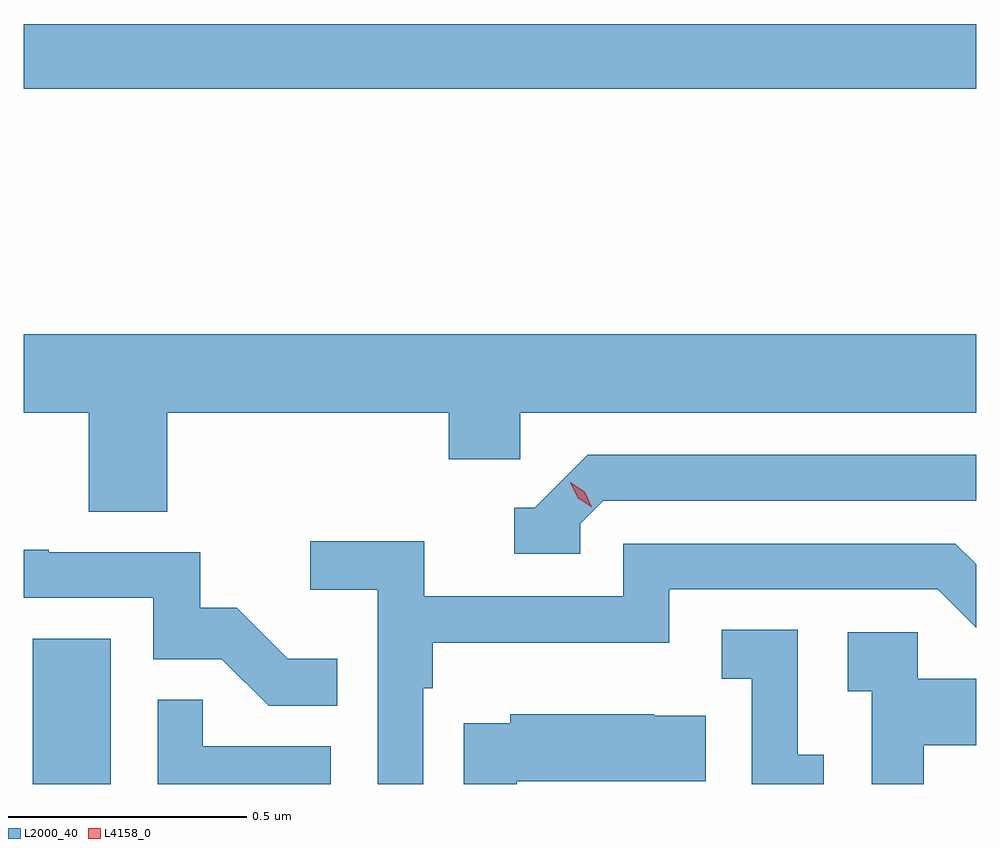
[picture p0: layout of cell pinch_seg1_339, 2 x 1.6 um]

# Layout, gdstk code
import gdstk
lib = gdstk.Library(unit=1e-6, precision=1e-09)
def R(c, l, rs):  # rectangles x0, y0, x1, y1
    for r in rs: c.add(gdstk.rectangle(r[:2], r[2:], *l))
def P(c, l, *ps):  # polygons
    for p in ps: c.add(gdstk.Polygon(p, *l))
L2000_40 = (2000, 40)
L4158_0 = (4158, 0)

pinch_seg1_339 = lib.new_cell('pinch_seg1_339')
R(pinch_seg1_339, L2000_40, [(950.978,545.624,951.142,545.929), (950.959,547.084,952.959,547.22)])
P(pinch_seg1_339, L2000_40, [(951.26,546.404),(951.851,546.404),(951.851,546.306),(952.002,546.306),(952.002,546.404),(952.959,546.404),(952.959,546.568),(950.959,546.568),(950.959,546.404),(951.095,546.404),(951.095,546.196),(951.26,546.196)],
  [(952.128,546.171),(952.176,546.219),(952.959,546.219),(952.959,546.315),(952.143,546.315),(952.032,546.204),(951.989,546.204),(951.989,546.108),(952.128,546.108)],
  [(951.798,545.825),(951.818,545.825),(951.818,545.921),(952.314,545.921),(952.314,546.033),(952.878,546.033),(952.959,545.952),(952.959,546.085),(952.915,546.129),(952.218,546.129),(952.218,546.018),(951.8,546.018),(951.8,546.134),(951.561,546.134),(951.561,546.032),(951.702,546.032),(951.702,545.624),(951.798,545.624)],
  [(951.617,545.887),(951.513,545.887),(951.406,545.994),(951.33,545.994),(951.33,546.111),(951.011,546.111),(951.011,546.116),(950.959,546.116),(950.959,546.015),(951.231,546.015),(951.231,545.886),(951.375,545.886),(951.473,545.788),(951.617,545.788)],
  [(952.639,545.685),(952.584,545.685),(952.584,545.948),(952.425,545.948),(952.425,545.845),(952.488,545.845),(952.488,545.624),(952.639,545.624)],
  [(952.849,545.705),(952.959,545.705),(952.959,545.845),(952.836,545.845),(952.836,545.943),(952.689,545.943),(952.689,545.819),(952.74,545.819),(952.74,545.624),(952.849,545.624)],
  [(951.604,545.703),(951.335,545.703),(951.335,545.801),(951.24,545.801),(951.24,545.624),(951.604,545.624)],
  [(951.994,545.63),(952.391,545.63),(952.391,545.767),(952.283,545.767),(952.283,545.77),(951.981,545.77),(951.981,545.752),(951.883,545.752),(951.883,545.624),(951.994,545.624)])
P(pinch_seg1_339, L4158_0, [(952.152,546.205),(952.122,546.225),(952.106,546.258),(952.106,546.258),(952.106,546.258),(952.137,546.238),(952.152,546.205),(952.152,546.205)])

lib.write_gds('pinch_seg1_339.gds')
